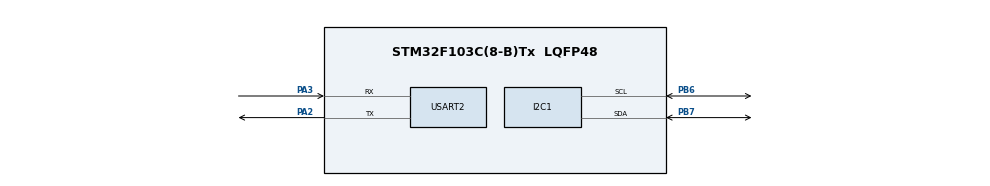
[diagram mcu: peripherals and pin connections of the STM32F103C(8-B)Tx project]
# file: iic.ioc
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Dma.I2C1_RX.0.Direction=DMA_PERIPH_TO_MEMORY
Dma.I2C1_RX.0.Instance=DMA1_Channel7
Dma.I2C1_RX.0.MemDataAlignment=DMA_MDATAALIGN_BYTE
Dma.I2C1_RX.0.MemInc=DMA_MINC_ENABLE
Dma.I2C1_RX.0.Mode=DMA_NORMAL
Dma.I2C1_RX.0.PeriphDataAlignment=DMA_PDATAALIGN_BYTE
Dma.I2C1_RX.0.PeriphInc=DMA_PINC_DISABLE
Dma.I2C1_RX.0.Priority=DMA_PRIORITY_LOW
Dma.I2C1_TX.1.Direction=DMA_MEMORY_TO_PERIPH
Dma.I2C1_TX.1.Instance=DMA1_Channel6
Dma.I2C1_TX.1.MemDataAlignment=DMA_MDATAALIGN_BYTE
Dma.I2C1_TX.1.MemInc=DMA_MINC_ENABLE
Dma.I2C1_TX.1.Mode=DMA_NORMAL
Dma.I2C1_TX.1.PeriphDataAlignment=DMA_PDATAALIGN_BYTE
Dma.I2C1_TX.1.PeriphInc=DMA_PINC_DISABLE
Dma.I2C1_TX.1.Priority=DMA_PRIORITY_LOW
Dma.Request0=I2C1_RX
Dma.Request1=I2C1_TX
Mcu.Family=STM32F1
Mcu.Name=STM32F103C(8-B)Tx
Mcu.Package=LQFP48
NVIC.DMA1_Channel6_IRQn=true\:0\:0\:false\:false\:true\:false\:true\:true
NVIC.DMA1_Channel7_IRQn=true\:0\:0\:false\:false\:true\:false\:true\:true
NVIC.I2C1_ER_IRQn=true\:0\:0\:false\:false\:true\:true\:true\:true
NVIC.I2C1_EV_IRQn=true\:0\:0\:false\:false\:true\:true\:true\:true
NVIC.PriorityGroup=NVIC_PRIORITYGROUP_4
PA2.Mode=Asynchronous
PA2.Signal=USART2_TX
PA3.Mode=Asynchronous
PA3.Signal=USART2_RX
PB6.Mode=I2C
PB6.Signal=I2C1_SCL
PB7.Mode=I2C
PB7.Signal=I2C1_SDA
ProjectManager.HeapSize=0x200
ProjectManager.StackSize=0x400
ProjectManager.TargetToolchain=STM32CubeIDE
RCC.APB1Freq_Value=8000000
RCC.APB2Freq_Value=8000000
USART2.VirtualMode=VM_ASYNC
board=custom

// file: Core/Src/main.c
/* USER CODE BEGIN Header */
/**
  ******************************************************************************
  * @file           : main.c
  * @brief          : Main program body
  ******************************************************************************
  * @attention
  *
  * Copyright (c) 2023 STMicroelectronics.
  * All rights reserved.
  *
  * This software is licensed under terms that can be found in the LICENSE file
  * in the root directory of this software component.
  * If no LICENSE file comes with this software, it is provided AS-IS.
  *
  ******************************************************************************
  */
/* USER CODE END Header */
#include "main.h"
#include "dma.h"
#include "i2c.h"
#include "usart.h"
#include "gpio.h"

/* USER CODE BEGIN Includes */
#include "aht20.h"
#include <stdio.h>
#include <string.h>
/* USER CODE END Includes */

/* USER CODE BEGIN PV */
// 0: 初始状态 发送测量命令 1: 正在发送测量命令 2: 测量命令发送完成 等待75毫秒后读取AHT20数据 3: 读取中 4: 读取完成 解析并展示数据然后恢复到初始状态
uint8_t aht20State = 0;
/* USER CODE END PV */

void SystemClock_Config(void);

int main(void)
{

  /* MCU Configuration--------------------------------------------------------*/

  /* Reset of all peripherals, Initializes the Flash interface and the Systick. */
  HAL_Init();

  /* Configure the system clock */
  SystemClock_Config();

  /* Initialize all configured peripherals */
  MX_GPIO_Init();
  MX_DMA_Init();
  MX_I2C1_Init();
  MX_USART2_UART_Init();
  /* USER CODE BEGIN 2 */
  AHT20_Init();

  float temperature, humidity;
  char message[50];
  /* USER CODE END 2 */

  /* Infinite loop */
  /* USER CODE BEGIN WHILE */
  while (1)
  {
	  if(aht20State == 0){
		  AHT20_Measure();
		  aht20State = 1;
	  }else if(aht20State == 2){
		  HAL_Delay(75);
		  AHT20_Get();
		  aht20State = 3;
	  }else if(aht20State == 4){
		  AHT20_Analysis(&temperature, &humidity);
		  sprintf(message,"温度: %.2f ℃, 湿度: %.2f %%\r\n",temperature, humidity);
		  HAL_UART_Transmit(&huart2, (uint8_t*)message, strlen(message), HAL_MAX_DELAY);

		  HAL_Delay(1000);
		  aht20State = 0;
	  }
//	  AHT20_Read(&temperature, &humidity);
//	  sprintf(message,"温度: %.1f ℃, 湿度: %.1f %%\r\n",temperature, humidity);
//	  HAL_UART_Transmit(&huart2, (uint8_t*)message, strlen(message), HAL_MAX_DELAY);
//
//	  HAL_Delay(1000);
    /* USER CODE END WHILE */

  }
}

void SystemClock_Config(void)
{
  RCC_OscInitTypeDef RCC_OscInitStruct = {0};
  RCC_ClkInitTypeDef RCC_ClkInitStruct = {0};

  /** Initializes the RCC Oscillators according to the specified parameters
  * in the RCC_OscInitTypeDef structure.
  */
  RCC_OscInitStruct.OscillatorType = RCC_OSCILLATORTYPE_HSI;
  RCC_OscInitStruct.HSIState = RCC_HSI_ON;
  RCC_OscInitStruct.HSICalibrationValue = RCC_HSICALIBRATION_DEFAULT;
  RCC_OscInitStruct.PLL.PLLState = RCC_PLL_NONE;
  if (HAL_RCC_OscConfig(&RCC_OscInitStruct) != HAL_OK)
  {
    Error_Handler();
  }

  /** Initializes the CPU, AHB and APB buses clocks
  */
  RCC_ClkInitStruct.ClockType = RCC_CLOCKTYPE_HCLK|RCC_CLOCKTYPE_SYSCLK
                              |RCC_CLOCKTYPE_PCLK1|RCC_CLOCKTYPE_PCLK2;
  RCC_ClkInitStruct.SYSCLKSource = RCC_SYSCLKSOURCE_HSI;
  RCC_ClkInitStruct.AHBCLKDivider = RCC_SYSCLK_DIV1;
  RCC_ClkInitStruct.APB1CLKDivider = RCC_HCLK_DIV1;
  RCC_ClkInitStruct.APB2CLKDivider = RCC_HCLK_DIV1;

  if (HAL_RCC_ClockConfig(&RCC_ClkInitStruct, FLASH_LATENCY_0) != HAL_OK)
  {
    Error_Handler();
  }
}

void Error_Handler(void)
{
  __disable_irq();
  while (1)
  {
  }
}
